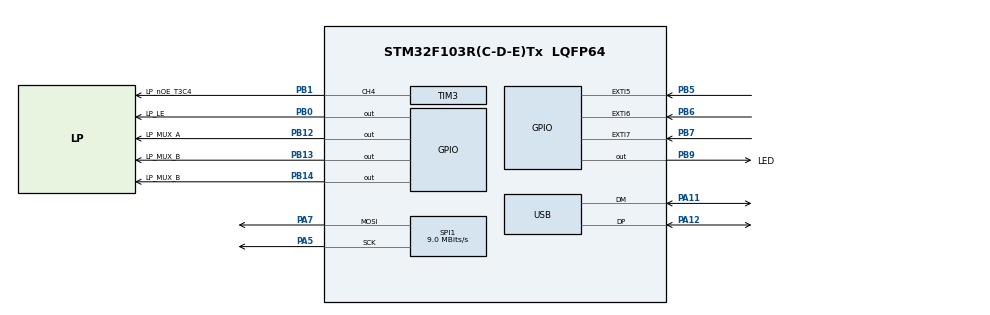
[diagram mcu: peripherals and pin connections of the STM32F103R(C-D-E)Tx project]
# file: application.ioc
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Dma.Request0=SPI1_TX
Dma.SPI1_TX.0.Direction=DMA_MEMORY_TO_PERIPH
Dma.SPI1_TX.0.Instance=DMA1_Channel3
Dma.SPI1_TX.0.MemDataAlignment=DMA_MDATAALIGN_HALFWORD
Dma.SPI1_TX.0.MemInc=DMA_MINC_ENABLE
Dma.SPI1_TX.0.Mode=DMA_NORMAL
Dma.SPI1_TX.0.PeriphDataAlignment=DMA_PDATAALIGN_HALFWORD
Dma.SPI1_TX.0.PeriphInc=DMA_PINC_DISABLE
Dma.SPI1_TX.0.Priority=DMA_PRIORITY_LOW
Mcu.Family=STM32F1
Mcu.Name=STM32F103R(C-D-E)Tx
Mcu.Package=LQFP64
NVIC.DMA1_Channel3_IRQn=true\:0\:0\:false\:false\:true\:false\:true\:true
NVIC.EXTI9_5_IRQn=true\:3\:0\:true\:false\:true\:true\:true\:true
NVIC.PVD_IRQn=true\:7\:0\:true\:false\:true\:true\:true\:true
NVIC.PriorityGroup=NVIC_PRIORITYGROUP_4
NVIC.TIM3_IRQn=true\:0\:0\:false\:false\:true\:true\:true\:true
NVIC.TIM6_IRQn=true\:2\:0\:true\:false\:true\:true\:true\:true
NVIC.USB_LP_CAN1_RX0_IRQn=true\:1\:0\:true\:false\:true\:false\:true\:true
PA11.Mode=Device
PA11.Signal=USB_DM
PA12.Mode=Device
PA12.Signal=USB_DP
PA13.Mode=Serial_Wire
PA13.Signal=SYS_JTMS-SWDIO
PA14.Mode=Serial_Wire
PA14.Signal=SYS_JTCK-SWCLK
PA5.Mode=TX_Only_Simplex_Unidirect_Master
PA5.Signal=SPI1_SCK
PA7.Mode=TX_Only_Simplex_Unidirect_Master
PA7.Signal=SPI1_MOSI
PB0.GPIO_Label=LP_LE
PB0.Signal=GPIO_Output
PB1.GPIO_Label=LP_nOE_T3C4
PB1.Signal=S_TIM3_CH4
PB12.GPIO_Label=LP_MUX_A
PB12.Signal=GPIO_Output
PB13.GPIO_Label=LP_MUX_B
PB13.Signal=GPIO_Output
PB14.GPIO_Label=LP_MUX_B
PB14.Signal=GPIO_Output
PB5.GPIO_ModeDefaultEXTI=GPIO_MODE_IT_RISING_FALLING
PB5.GPIO_PuPd=GPIO_PULLDOWN
PB5.Signal=GPXTI5
PB6.GPIO_ModeDefaultEXTI=GPIO_MODE_IT_RISING_FALLING
PB6.GPIO_PuPd=GPIO_PULLDOWN
PB6.Signal=GPXTI6
PB7.GPIO_ModeDefaultEXTI=GPIO_MODE_IT_RISING_FALLING
PB7.GPIO_PuPd=GPIO_PULLDOWN
PB7.Signal=GPXTI7
PB9.GPIO_Label=LED
PB9.Signal=GPIO_Output
PD0-OSC_IN.Mode=HSE-External-Oscillator
PD0-OSC_IN.Signal=RCC_OSC_IN
PD1-OSC_OUT.Mode=HSE-External-Oscillator
PD1-OSC_OUT.Signal=RCC_OSC_OUT
ProjectManager.HeapSize=0x200
ProjectManager.StackSize=0x400
ProjectManager.TargetToolchain=STM32CubeIDE
RCC.AHBFreq_Value=72000000
RCC.APB1CLKDivider=RCC_HCLK_DIV2
RCC.APB1Freq_Value=36000000
RCC.APB1TimFreq_Value=72000000
RCC.APB2Freq_Value=72000000
RCC.APB2TimFreq_Value=72000000
RCC.HCLKFreq_Value=72000000
RCC.PLLMUL=RCC_PLL_MUL9
RCC.PLLSourceVirtual=RCC_PLLSOURCE_HSE
RCC.SYSCLKFreq_VALUE=72000000
RCC.SYSCLKSource=RCC_SYSCLKSOURCE_PLLCLK
RCC.USBFreq_Value=48000000
RCC.USBPrescaler=RCC_USBCLKSOURCE_PLL_DIV1_5
SH.S_TIM3_CH4.0=TIM3_CH4,PWM Generation4 CH4
SPI1.BaudRatePrescaler=SPI_BAUDRATEPRESCALER_8
SPI1.CalculateBaudRate=9.0 MBits/s
SPI1.DataSize=SPI_DATASIZE_16BIT
SPI1.Direction=SPI_DIRECTION_2LINES
SPI1.Mode=SPI_MODE_MASTER
SPI1.VirtualType=VM_MASTER
TIM3.AutoReloadPreload=TIM_AUTORELOAD_PRELOAD_ENABLE
TIM3.Channel-PWM\ Generation4\ CH4=TIM_CHANNEL_4
TIM3.OCPolarity_4=TIM_OCPOLARITY_HIGH
TIM3.Period=30000-1
TIM3.Pulse-PWM\ Generation4\ CH4=30001
TIM6.AutoReloadPreload=TIM_AUTORELOAD_PRELOAD_ENABLE
TIM6.Period=36000
TIM6.Prescaler=20
USB_DEVICE.CLASS_NAME_FS=MSC
USB_DEVICE.VirtualMode=Msc
USB_DEVICE.VirtualModeFS=Msc_FS
VP_RTC_VS_RTC_Activate.Mode=RTC_Enabled
VP_TIM3_VS_ClockSourceINT.Mode=Internal
VP_TIM6_VS_ClockSourceINT.Mode=Enable_Timer
VP_USB_DEVICE_VS_USB_DEVICE_MSC_FS.Mode=MSC_FS
board=custom

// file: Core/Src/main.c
/* USER CODE BEGIN Header */
/**
  ******************************************************************************
  * @file           : main.c
  * @brief          : Main program body
  ******************************************************************************
  * @attention
  *
  * Copyright (c) 2023 STMicroelectronics.
  * All rights reserved.
  *
  * This software is licensed under terms that can be found in the LICENSE file
  * in the root directory of this software component.
  * If no LICENSE file comes with this software, it is provided AS-IS.
  *
  ******************************************************************************
  */
/* USER CODE END Header */
#include "main.h"
#include "usb_device.h"

/* USER CODE BEGIN Includes */
//#include "test.h"
#include "font8sans.h"
#include "font16.h"
/* USER CODE END Includes */

/* USER CODE BEGIN PV */

dcount_t cnt1;
uint8_t cntupd = 0;
char str[] = "00.00";
char mixstr[] = "0000";

typedef struct type21{ uint8_t x; uint8_t y;}type21;

//typedef struct type24 { type21 x[3]; } type24;

volatile type21 test123[3] ={{1,2},{1,2},{1,2}};

const uint16_t st_text[] = {
		0x0000,
		0x33D2,
		0x4A14,

		0x4398,
		0x4A14,
		0x33D2,
		0x0000,
		0x0000,
};
//bool bufrw=true;
//bool wfdt=true;
uint8_t str_cnt=0;
uint8_t LP_lock = 0;
uint16_t LP_buffer[32]; //nthStr - 2*16 + (nth+8)Str - 2*16

uint16_t display_buffer[16][2];/*=
{
		{0x8000,0x0001},
		{0x0800,0x0010},
		{0x0080,0x0100},
		{0x0008,0x1000},

		{0xAA00,0x0055},
		{0x5500,0x00AA},
		{0xAA00,0x0055},
		{0x5500,0x00AA},

		{0x00AA,0x5500},
		{0x0055,0xAA00},
		{0x00AA,0x5500},
		{0x0055,0xAA00},

		{0x0008,0x1000},
		{0x0080,0x0100},
		{0x0800,0x0010},
		{0x8000,0x0001}
};*/
/* USER CODE END PV */

void SystemClock_Config(void);
static void MX_GPIO_Init(void);
static void MX_DMA_Init(void);
static void MX_SPI1_Init(void);
static void MX_TIM3_Init(void);
static void MX_TIM6_Init(void);
static void MX_RTC_Init(void);
/* USER CODE BEGIN PFP */
void cpToLPBuffer(void);
void putStrToBuff(char *str);
void putStrToBuffMix(char *str);
/* USER CODE END PFP */

int main(void)
{

  /* MCU Configuration--------------------------------------------------------*/

  /* Reset of all peripherals, Initializes the Flash interface and the Systick. */
  HAL_Init();

  /* USER CODE BEGIN Init */
  LL_DBGMCU_EnableDBGSleepMode();
  LL_DBGMCU_APB1_GRP1_FreezePeriph(LL_DBGMCU_APB1_GRP1_TIM3_STOP | LL_DBGMCU_APB1_GRP1_TIM4_STOP);
  LL_DBGMCU_APB1_GRP1_FreezePeriph(LL_DBGMCU_APB1_GRP1_TIM6_STOP);
  /* USER CODE END Init */

  /* Configure the system clock */
  SystemClock_Config();

  /* Initialize all configured peripherals */
  MX_GPIO_Init();
  MX_DMA_Init();
  MX_SPI1_Init();
  MX_TIM3_Init();
  MX_USB_DEVICE_Init();
  MX_TIM6_Init();
  MX_RTC_Init();
  /* USER CODE BEGIN 2 */
  LL_EXTI_DisableIT_0_31(LL_EXTI_LINE_5 | LL_EXTI_LINE_6 | LL_EXTI_LINE_7);
  LL_GPIO_TogglePin(LED_GPIO_Port, LED_Pin);

  LL_TIM_EnableCounter(TIM3);
  LL_TIM_ClearFlag_UPDATE(TIM3);
  LL_TIM_EnableIT_UPDATE(TIM3);
  LL_TIM_CC_EnableChannel(TIM3, LL_TIM_CHANNEL_CH4);
  LL_TIM_OC_SetCompareCH4(TIM3, 29000);//170 - 30001);

  LL_TIM_EnableCounter(TIM6);

  LL_TIM_EnableIT_UPDATE(TIM6);

	cpToLPBuffer();
	/*
  //update LP buffer
  //nthStr - 2*16 + (nth+8)Str - 2*16
  for (uint8_t i=0;i<8;i++){
	  LP_buffer [4*i] = display_buffer[i+8][0];
	  LP_buffer [4*i+1] = display_buffer[i+8][1];
	  LP_buffer [4*i+2] = display_buffer[i][0];
	  LP_buffer [4*i+3] = display_buffer[i][1];
  };
*/

  //LL_DMA_ConfigTransfer(DMAx, Channel, Configuration)
  LL_DMA_ConfigAddresses(DMA1, LL_DMA_CHANNEL_3, (uint32_t)&LP_buffer[4],LL_SPI_DMA_GetRegAddr(SPI1) ,LL_DMA_DIRECTION_MEMORY_TO_PERIPH);

  //LL_DMA_SetMemoryAddress(DMA1, LL_DMA_CHANNEL_3, (uint32_t *)LP_buffer);
  //LL_DMA_SetDataLength(DMA1, LL_DMA_CHANNEL_3, 4);

  LL_DMA_EnableIT_TC(DMA1, LL_DMA_CHANNEL_3);
  LL_SPI_EnableDMAReq_TX(SPI1);
  //LL_SPI_EnableIT_TXE(SPI1);

  LL_SPI_Enable(SPI1);

  __NOP();
  //uint8_t pos = font_8ptChrsDescr[4]->position;
  //uint8_t siz = symb_8s_siz(4);

  volatile uint32_t test;
//  test = '0' - font_8pt_info.stchar;
  test = test123->x;
  __NOP();
//  test = font_8ptChrsDescr[4].position;
  test = font_8ptChrsDescr[4].size;
  test = font_8ptChrsDescr[4].position;
  test = font_8pt_info.stchar;
  test = font_8pt_info.endchar;
  test = font_8pt_info.sp_width;
  test = font_8pt_info.height;
  test = font_8ptBtmps[6];

/*
  uint8_t rpos = '1'-font_8pt_info.stchar;
  uint8_t bpos = font_8ptChrsDescr[rpos].position;
  uint8_t chw = font_8ptChrsDescr[rpos].size;
  uint8_t rpos1 = '0'-font_8pt_info.stchar;
  uint8_t bpos1 = font_8ptChrsDescr[rpos1].position;
*/
/*
#define bmpaddr(c)  font_8ptChrsDescr[c - font_8pt_info.stchar].position;

  bpos = bmpaddr('1');
*/

  test = strlen(str);

  uint8_t width;
   uint8_t tmp;
/*
  for (char* s=&str[0]; *s != '\0'; s++ )
  {
      //printf("%c\n", *s);
	  rpos = *s - font_8pt_info.stchar;
	  width = font_8ptChrsDescr[rpos].size;
	  bpos = font_8ptChrsDescr[rpos].position;
	  tmp = font_8ptBtmps[bpos];

  };
*/

   //strcpy(str,str_templ);

   putStrToBuff(&str[0]);
/*
   char *s;

  //str[4] = '0' + 5;

  uint8_t rpos, bpos, st_pos;

  for (uint8_t i=0;i<8;i++){
	  s=&str[0];
	  st_pos = 32;
  uint32_t tmp = 0;
  while (*s != '\0'){
	  rpos = *s - font_8pt_info.stchar;
	  width = font_8ptChrsDescr[rpos].size;
	  bpos = font_8ptChrsDescr[rpos].position;
	  st_pos -= width;
	  tmp |= font_8ptBtmps[bpos + i] << st_pos;
	  st_pos--;

	  s++;

  };

  display_buffer[i][0] = (tmp >> 16);
  display_buffer[i][1] = (tmp);

  };

  */
	/*	  for (uint8_t i=0;i<8;i++){
			  uint32_t temp;
			  st_pos = 32;
			  st_pos -= chw;
			  temp = ((font_8ptBtmps[bpos+i]) << (st_pos));

			  st_pos -= chw + 1;
			  temp |= (font_8ptBtmps[bpos1+i] << (st_pos));

			  st_pos -= chw + 1;
			  temp |= (font_8ptBtmps[bpos+i] << (st_pos));

			  st_pos -= chw + 1;
			  temp |= (font_8ptBtmps[bpos1+i] << (st_pos));

			  st_pos -= chw + 1;
			  temp |= (font_8ptBtmps[bpos+i] << (st_pos));

			  display_buffer[i][0] = (temp >> 16);
			  display_buffer[i][1] = (temp);
		  }
*/
		  __NOP();
		  uint32_t testop1 = 10;
		  uint32_t testop2 = 2;
		  uint32_t result;
		  asm("nop");
		  result = __ROR(testop1, testop2);
//  return (op1 >> op2) | (op1 << (32U - op2));
		  result = (testop1 >> testop2) | (testop1 << (32U -testop2));
		  result = __RBIT(result);
		  uint32_t value = result;
    __ASM volatile ("rbit %0, %1" : "=r" (result) : "r" (value) );

    __ASM volatile ("ror.w %0, %1" : "=r" (result) : "r" (testop2));

    	//display

  cpToLPBuffer();

  /*
   * fit in 16bit register
   */

  	  uint8_t positions;
  	  uint8_t chars;

  	  /*
  	   * cpos + chw < 16
  	   * yes:
  	   *  put char cpos += chw
  	   * no:
  	   * cpos = chw +  16 - cpos (partially put in fist bit)
  	   *  put part of sym in register
  	   * calculate size of part in next register
  	   *
  	   * go to yes:
  	   *
  	   * max width = 6 * 5 symols = 30 bits
  	   *
  	   *
  	   *
  	   * don't convert hex to dec, count in dec
  	   */

/*

  for (uint8_t str_cnt = 0;str_cnt < 8; str_cnt++){

	GPIOB->BSRR = (str_cnt << 12u) | ((0x7-str_cnt) << (12u+16u));

  }
  */

  	  /* USER CODE END 2 */

  /* Infinite loop */
  /* USER CODE BEGIN WHILE */
  while (1)
  {
	  __WFI();
	  __NOP();
	  __NOP();

	  if (cntupd) {
	  mixstr[0] = '0' + cnt1.c3;
	  mixstr[1] = '0' + cnt1.c2;
	  mixstr[2] = '0' + cnt1.c1;
	  mixstr[3] = '0' + cnt1.c0;

	  putStrToBuffMix(mixstr);
	  cpToLPBuffer();
	  cntupd = 0;
	  };

    /* USER CODE END WHILE */

  }
}

void SystemClock_Config(void)
{
  LL_FLASH_SetLatency(LL_FLASH_LATENCY_2);
  while(LL_FLASH_GetLatency()!= LL_FLASH_LATENCY_2)
  {
  }
  LL_RCC_HSE_Enable();

   /* Wait till HSE is ready */
  while(LL_RCC_HSE_IsReady() != 1)
  {

  }
  LL_RCC_LSI_Enable();

   /* Wait till LSI is ready */
  while(LL_RCC_LSI_IsReady() != 1)
  {

  }
  LL_PWR_EnableBkUpAccess();
  if(LL_RCC_GetRTCClockSource() != LL_RCC_RTC_CLKSOURCE_LSI)
  {
    LL_RCC_ForceBackupDomainReset();
    LL_RCC_ReleaseBackupDomainReset();
    LL_RCC_SetRTCClockSource(LL_RCC_RTC_CLKSOURCE_LSI);
  }
  LL_RCC_EnableRTC();
  LL_RCC_PLL_ConfigDomain_SYS(LL_RCC_PLLSOURCE_HSE_DIV_1, LL_RCC_PLL_MUL_9);
  LL_RCC_PLL_Enable();

   /* Wait till PLL is ready */
  while(LL_RCC_PLL_IsReady() != 1)
  {

  }
  LL_RCC_SetAHBPrescaler(LL_RCC_SYSCLK_DIV_1);
  LL_RCC_SetAPB1Prescaler(LL_RCC_APB1_DIV_2);
  LL_RCC_SetAPB2Prescaler(LL_RCC_APB2_DIV_1);
  LL_RCC_SetSysClkSource(LL_RCC_SYS_CLKSOURCE_PLL);

   /* Wait till System clock is ready */
  while(LL_RCC_GetSysClkSource() != LL_RCC_SYS_CLKSOURCE_STATUS_PLL)
  {

  }
  LL_SetSystemCoreClock(72000000);

   /* Update the time base */
  if (HAL_InitTick (TICK_INT_PRIORITY) != HAL_OK)
  {
    Error_Handler();
  }
  LL_RCC_SetUSBClockSource(LL_RCC_USB_CLKSOURCE_PLL_DIV_1_5);
}

static void MX_RTC_Init(void)
{

  LL_RTC_InitTypeDef RTC_InitStruct = {0};

    LL_PWR_EnableBkUpAccess();
    /* Enable BKP CLK enable for backup registers */
    LL_APB1_GRP1_EnableClock(LL_APB1_GRP1_PERIPH_BKP);
  /* Peripheral clock enable */
  LL_RCC_EnableRTC();

  /** Initialize RTC and set the Time and Date
  */
  RTC_InitStruct.AsynchPrescaler = 0xFFFFFFFFU;
  LL_RTC_Init(RTC, &RTC_InitStruct);
  LL_RTC_SetAsynchPrescaler(RTC, 0xFFFFFFFFU);

}

static void MX_SPI1_Init(void)
{

  LL_SPI_InitTypeDef SPI_InitStruct = {0};

  LL_GPIO_InitTypeDef GPIO_InitStruct = {0};

  /* Peripheral clock enable */
  LL_APB2_GRP1_EnableClock(LL_APB2_GRP1_PERIPH_SPI1);

  LL_APB2_GRP1_EnableClock(LL_APB2_GRP1_PERIPH_GPIOA);
  /**SPI1 GPIO Configuration
  PA5   ------> SPI1_SCK
  PA7   ------> SPI1_MOSI
  */
  GPIO_InitStruct.Pin = LL_GPIO_PIN_5|LL_GPIO_PIN_7;
  GPIO_InitStruct.Mode = LL_GPIO_MODE_ALTERNATE;
  GPIO_InitStruct.Speed = LL_GPIO_SPEED_FREQ_HIGH;
  GPIO_InitStruct.OutputType = LL_GPIO_OUTPUT_PUSHPULL;
  LL_GPIO_Init(GPIOA, &GPIO_InitStruct);

  /* SPI1 DMA Init */

  /* SPI1_TX Init */
  LL_DMA_SetDataTransferDirection(DMA1, LL_DMA_CHANNEL_3, LL_DMA_DIRECTION_MEMORY_TO_PERIPH);

  LL_DMA_SetChannelPriorityLevel(DMA1, LL_DMA_CHANNEL_3, LL_DMA_PRIORITY_LOW);

  LL_DMA_SetMode(DMA1, LL_DMA_CHANNEL_3, LL_DMA_MODE_NORMAL);

  LL_DMA_SetPeriphIncMode(DMA1, LL_DMA_CHANNEL_3, LL_DMA_PERIPH_NOINCREMENT);

  LL_DMA_SetMemoryIncMode(DMA1, LL_DMA_CHANNEL_3, LL_DMA_MEMORY_INCREMENT);

  LL_DMA_SetPeriphSize(DMA1, LL_DMA_CHANNEL_3, LL_DMA_PDATAALIGN_HALFWORD);

  LL_DMA_SetMemorySize(DMA1, LL_DMA_CHANNEL_3, LL_DMA_MDATAALIGN_HALFWORD);

  /* SPI1 parameter configuration*/
  SPI_InitStruct.TransferDirection = LL_SPI_FULL_DUPLEX;
  SPI_InitStruct.Mode = LL_SPI_MODE_MASTER;
  SPI_InitStruct.DataWidth = LL_SPI_DATAWIDTH_16BIT;
  SPI_InitStruct.ClockPolarity = LL_SPI_POLARITY_LOW;
  SPI_InitStruct.ClockPhase = LL_SPI_PHASE_1EDGE;
  SPI_InitStruct.NSS = LL_SPI_NSS_SOFT;
  SPI_InitStruct.BaudRate = LL_SPI_BAUDRATEPRESCALER_DIV8;
  SPI_InitStruct.BitOrder = LL_SPI_MSB_FIRST;
  SPI_InitStruct.CRCCalculation = LL_SPI_CRCCALCULATION_DISABLE;
  SPI_InitStruct.CRCPoly = 10;
  LL_SPI_Init(SPI1, &SPI_InitStruct);

}

static void MX_TIM3_Init(void)
{

  LL_TIM_InitTypeDef TIM_InitStruct = {0};
  LL_TIM_OC_InitTypeDef TIM_OC_InitStruct = {0};

  LL_GPIO_InitTypeDef GPIO_InitStruct = {0};

  /* Peripheral clock enable */
  LL_APB1_GRP1_EnableClock(LL_APB1_GRP1_PERIPH_TIM3);

  /* TIM3 interrupt Init */
  NVIC_SetPriority(TIM3_IRQn, NVIC_EncodePriority(NVIC_GetPriorityGrouping(),0, 0));
  NVIC_EnableIRQ(TIM3_IRQn);

  TIM_InitStruct.Prescaler = 0;
  TIM_InitStruct.CounterMode = LL_TIM_COUNTERMODE_UP;
  TIM_InitStruct.Autoreload = 30000-LL_TIM_IC_FILTER_FDIV1_N2;
  TIM_InitStruct.ClockDivision = LL_TIM_CLOCKDIVISION_DIV1;
  LL_TIM_Init(TIM3, &TIM_InitStruct);
  LL_TIM_EnableARRPreload(TIM3);
  LL_TIM_SetClockSource(TIM3, LL_TIM_CLOCKSOURCE_INTERNAL);
  LL_TIM_OC_EnablePreload(TIM3, LL_TIM_CHANNEL_CH4);
  TIM_OC_InitStruct.OCMode = LL_TIM_OCMODE_PWM1;
  TIM_OC_InitStruct.OCState = LL_TIM_OCSTATE_DISABLE;
  TIM_OC_InitStruct.OCNState = LL_TIM_OCSTATE_DISABLE;
  TIM_OC_InitStruct.CompareValue = 30001;
  TIM_OC_InitStruct.OCPolarity = LL_TIM_OCPOLARITY_HIGH;
  LL_TIM_OC_Init(TIM3, LL_TIM_CHANNEL_CH4, &TIM_OC_InitStruct);
  LL_TIM_OC_DisableFast(TIM3, LL_TIM_CHANNEL_CH4);
  LL_TIM_SetTriggerOutput(TIM3, LL_TIM_TRGO_RESET);
  LL_TIM_DisableMasterSlaveMode(TIM3);
  LL_APB2_GRP1_EnableClock(LL_APB2_GRP1_PERIPH_GPIOB);
  /**TIM3 GPIO Configuration
  PB1   ------> TIM3_CH4
  */
  GPIO_InitStruct.Pin = LP_nOE_T3C4_Pin;
  GPIO_InitStruct.Mode = LL_GPIO_MODE_ALTERNATE;
  GPIO_InitStruct.Speed = LL_GPIO_SPEED_FREQ_LOW;
  GPIO_InitStruct.OutputType = LL_GPIO_OUTPUT_PUSHPULL;
  LL_GPIO_Init(LP_nOE_T3C4_GPIO_Port, &GPIO_InitStruct);

}

static void MX_TIM6_Init(void)
{

  LL_TIM_InitTypeDef TIM_InitStruct = {0};

  /* Peripheral clock enable */
  LL_APB1_GRP1_EnableClock(LL_APB1_GRP1_PERIPH_TIM6);

  /* TIM6 interrupt Init */
  NVIC_SetPriority(TIM6_IRQn, NVIC_EncodePriority(NVIC_GetPriorityGrouping(),2, 0));
  NVIC_EnableIRQ(TIM6_IRQn);

  TIM_InitStruct.Prescaler = 20;
  TIM_InitStruct.CounterMode = LL_TIM_COUNTERMODE_UP;
  TIM_InitStruct.Autoreload = 36000;
  LL_TIM_Init(TIM6, &TIM_InitStruct);
  LL_TIM_EnableARRPreload(TIM6);
  LL_TIM_SetTriggerOutput(TIM6, LL_TIM_TRGO_RESET);
  LL_TIM_DisableMasterSlaveMode(TIM6);

}

static void MX_DMA_Init(void)
{

  /* Init with LL driver */
  /* DMA controller clock enable */
  LL_AHB1_GRP1_EnableClock(LL_AHB1_GRP1_PERIPH_DMA1);

  /* DMA interrupt init */
  /* DMA1_Channel3_IRQn interrupt configuration */
  NVIC_SetPriority(DMA1_Channel3_IRQn, NVIC_EncodePriority(NVIC_GetPriorityGrouping(),0, 0));
  NVIC_EnableIRQ(DMA1_Channel3_IRQn);

}

static void MX_GPIO_Init(void)
{
  LL_EXTI_InitTypeDef EXTI_InitStruct = {0};
  LL_GPIO_InitTypeDef GPIO_InitStruct = {0};

  /* GPIO Ports Clock Enable */
  LL_APB2_GRP1_EnableClock(LL_APB2_GRP1_PERIPH_GPIOD);
  LL_APB2_GRP1_EnableClock(LL_APB2_GRP1_PERIPH_GPIOA);
  LL_APB2_GRP1_EnableClock(LL_APB2_GRP1_PERIPH_GPIOB);

  /**/
  LL_GPIO_ResetOutputPin(GPIOB, LP_LE_Pin|LP_MUX_A_Pin|LP_MUX_B_Pin|LP_MUX_BB14_Pin
                          |LED_Pin);

  /**/
  GPIO_InitStruct.Pin = LP_LE_Pin|LP_MUX_A_Pin|LP_MUX_B_Pin|LP_MUX_BB14_Pin
                          |LED_Pin;
  GPIO_InitStruct.Mode = LL_GPIO_MODE_OUTPUT;
  GPIO_InitStruct.Speed = LL_GPIO_SPEED_FREQ_LOW;
  GPIO_InitStruct.OutputType = LL_GPIO_OUTPUT_PUSHPULL;
  LL_GPIO_Init(GPIOB, &GPIO_InitStruct);

  /**/
  LL_GPIO_AF_SetEXTISource(LL_GPIO_AF_EXTI_PORTB, LL_GPIO_AF_EXTI_LINE5);

  /**/
  LL_GPIO_AF_SetEXTISource(LL_GPIO_AF_EXTI_PORTB, LL_GPIO_AF_EXTI_LINE6);

  /**/
  LL_GPIO_AF_SetEXTISource(LL_GPIO_AF_EXTI_PORTB, LL_GPIO_AF_EXTI_LINE7);

  /**/
  EXTI_InitStruct.Line_0_31 = LL_EXTI_LINE_5;
  EXTI_InitStruct.LineCommand = ENABLE;
  EXTI_InitStruct.Mode = LL_EXTI_MODE_IT;
  EXTI_InitStruct.Trigger = LL_EXTI_TRIGGER_RISING_FALLING;
  LL_EXTI_Init(&EXTI_InitStruct);

  /**/
  EXTI_InitStruct.Line_0_31 = LL_EXTI_LINE_6;
  EXTI_InitStruct.LineCommand = ENABLE;
  EXTI_InitStruct.Mode = LL_EXTI_MODE_IT;
  EXTI_InitStruct.Trigger = LL_EXTI_TRIGGER_RISING_FALLING;
  LL_EXTI_Init(&EXTI_InitStruct);

  /**/
  EXTI_InitStruct.Line_0_31 = LL_EXTI_LINE_7;
  EXTI_InitStruct.LineCommand = ENABLE;
  EXTI_InitStruct.Mode = LL_EXTI_MODE_IT;
  EXTI_InitStruct.Trigger = LL_EXTI_TRIGGER_RISING_FALLING;
  LL_EXTI_Init(&EXTI_InitStruct);

  /**/
  LL_GPIO_SetPinPull(GPIOB, LL_GPIO_PIN_5, LL_GPIO_PULL_DOWN);

  /**/
  LL_GPIO_SetPinPull(GPIOB, LL_GPIO_PIN_6, LL_GPIO_PULL_DOWN);

  /**/
  LL_GPIO_SetPinPull(GPIOB, LL_GPIO_PIN_7, LL_GPIO_PULL_DOWN);

  /**/
  LL_GPIO_SetPinMode(GPIOB, LL_GPIO_PIN_5, LL_GPIO_MODE_INPUT);

  /**/
  LL_GPIO_SetPinMode(GPIOB, LL_GPIO_PIN_6, LL_GPIO_MODE_INPUT);

  /**/
  LL_GPIO_SetPinMode(GPIOB, LL_GPIO_PIN_7, LL_GPIO_MODE_INPUT);

  /* EXTI interrupt init*/
  NVIC_SetPriority(EXTI9_5_IRQn, NVIC_EncodePriority(NVIC_GetPriorityGrouping(),3, 0));
  NVIC_EnableIRQ(EXTI9_5_IRQn);

}

/* USER CODE BEGIN 4 */
void cpToLPBuffer(void){
  //update LP buffer
  //nthStr - 2*16 + (nth+8)Str - 2*16
  	for (uint8_t i=0;i<8;i++){
	LP_buffer [4*i] = display_buffer[i+8][0];
	LP_buffer [4*i+1] = display_buffer[i+8][1];
	LP_buffer [4*i+2] = display_buffer[i][0];
	LP_buffer [4*i+3] = display_buffer[i][1];
  };
};

void putStrToBuff(char *string){
		char *s ;
	  uint8_t rpos, bpos, st_pos, w;
	  for (uint8_t i=0;i<8;i++){
		  s=string;
		  st_pos = 32;
	  uint32_t tmp = 0;
	  while (*s != '\0'){
		  rpos = *s - font_8pt_info.stchar;
		  w = font_8ptChrsDescr[rpos].size;
		  bpos = font_8ptChrsDescr[rpos].position;
		  st_pos -= w;
		  tmp |= font_8ptBtmps[bpos + i] << st_pos;
		  st_pos--;

		  s++;

	  };

	  display_buffer[i][0] = (tmp >> 16);
	  display_buffer[i][1] = (tmp);

	  };

}

void putStrToBuffMix(char *string){
		char *s ;
		uint8_t count;
	  uint8_t rpos, bpos, st_pos, w;
	  for (uint8_t i=0;i<8;i++){
		  s=string;
		  st_pos = 32;
		  count = 0;
	  uint32_t tmp = 0;
	  uint32_t tmp1 = 0;
	  while (*s != '\0'){
		  if (count <2){
			  count++;

			  rpos = *s - font_16pt_info.stchar;
			  w = font_16ptChrsDescr[rpos].size;
			  bpos = font_16ptChrsDescr[rpos].position;
			  st_pos -= w;
			  tmp |= font_16ptBtmps[bpos + i] << st_pos;
			  tmp1 |= font_16ptBtmps[bpos+8 + i] << st_pos;
			  st_pos--;

		  }
		  else{
			  if (count == 2){st_pos -= 2;count++;};
		  rpos = *s - font_8pt_info.stchar;
		  w = font_8ptChrsDescr[rpos].size;
		  bpos = font_8ptChrsDescr[rpos].position;
		  st_pos -= w;
		  tmp |= font_8ptBtmps[bpos + i] << st_pos;
		  tmp1 |= st_text[i];
		  st_pos--;
		  }
		  s++;

	  };

	  display_buffer[i][0] = (tmp >> 16);
	  display_buffer[i][1] = (tmp);

	  display_buffer[i+8][0] = (tmp1 >> 16);
	  display_buffer[i+8][1] = (tmp1);

	  };

}

/* USER CODE END 4 */

void Error_Handler(void)
{
  __disable_irq();
  while (1)
  {
  }
}
